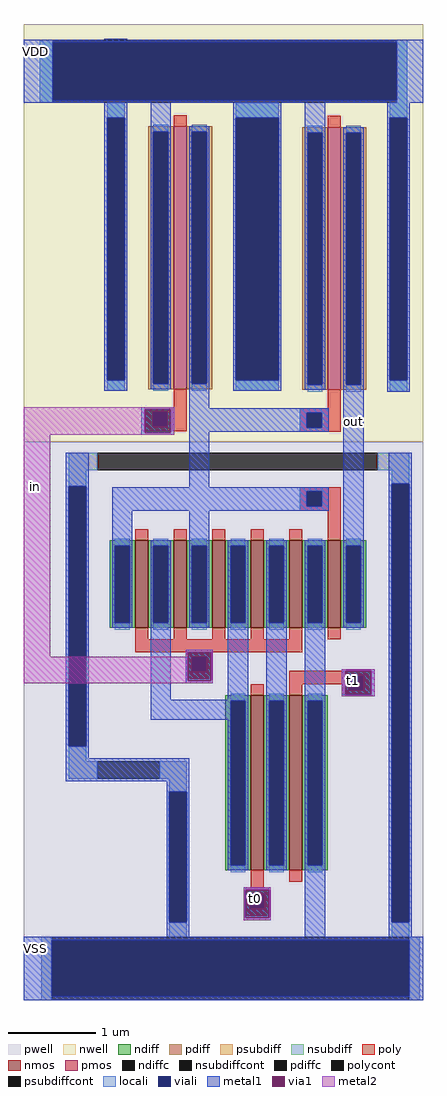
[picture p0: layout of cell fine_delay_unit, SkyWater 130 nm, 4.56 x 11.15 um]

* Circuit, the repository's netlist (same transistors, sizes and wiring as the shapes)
* NGSPICE file created from fine_delay_unit.ext - technology: sky130A

.subckt sky130_fd_pr__nfet_01v8_6H9P4D a_n73_n100# a_15_n100# a_n15_n126# VSUBS
X0 a_15_n100# a_n15_n126# a_n73_n100# VSUBS sky130_fd_pr__nfet_01v8 ad=0.29 pd=2.58 as=0.29 ps=2.58 w=1 l=0.15
**devattr s=11600,516 d=11600,516
.ends

.subckt sky130_fd_pr__pfet_01v8_2K9SAN a_n73_n300# w_n109_n362# a_15_n300# a_n15_n326#
X0 a_15_n300# a_n15_n326# a_n73_n300# w_n109_n362# sky130_fd_pr__pfet_01v8 ad=0.87 pd=6.58 as=0.87 ps=6.58 w=3 l=0.15
**devattr s=34800,1316 d=34800,1316
.ends

.subckt sky130_fd_pr__nfet_01v8_TC9PQS a_15_n200# a_n15_n226# a_n73_n200# VSUBS
X0 a_15_n200# a_n15_n226# a_n73_n200# VSUBS sky130_fd_pr__nfet_01v8 ad=0.58 pd=4.58 as=0.58 ps=4.58 w=2 l=0.15
**devattr s=23200,916 d=23200,916
.ends

.subckt fine_delay_unit in t0 t1 out VDD VSS
Xsky130_fd_pr__nfet_01v8_6H9P4D_0 a_978_702# m1_814_280# in VSS sky130_fd_pr__nfet_01v8_6H9P4D
Xsky130_fd_pr__nfet_01v8_6H9P4D_1 m1_814_280# a_978_702# in VSS sky130_fd_pr__nfet_01v8_6H9P4D
Xsky130_fd_pr__pfet_01v8_2K9SAN_0 VDD VDD a_978_702# in sky130_fd_pr__pfet_01v8_2K9SAN
Xsky130_fd_pr__nfet_01v8_6H9P4D_2 a_978_702# m1_814_280# in VSS sky130_fd_pr__nfet_01v8_6H9P4D
Xsky130_fd_pr__pfet_01v8_2K9SAN_1 VDD VDD out a_978_702# sky130_fd_pr__pfet_01v8_2K9SAN
Xsky130_fd_pr__nfet_01v8_6H9P4D_3 m1_814_280# m1_902_280# in VSS sky130_fd_pr__nfet_01v8_6H9P4D
Xsky130_fd_pr__nfet_01v8_6H9P4D_4 m1_902_280# VSS in VSS sky130_fd_pr__nfet_01v8_6H9P4D
Xsky130_fd_pr__nfet_01v8_6H9P4D_5 VSS out a_978_702# VSS sky130_fd_pr__nfet_01v8_6H9P4D
Xsky130_fd_pr__nfet_01v8_TC9PQS_0 m1_902_280# t0 m1_814_280# VSS sky130_fd_pr__nfet_01v8_TC9PQS
Xsky130_fd_pr__nfet_01v8_TC9PQS_1 VSS t1 m1_902_280# VSS sky130_fd_pr__nfet_01v8_TC9PQS
.ends

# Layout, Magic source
magic
tech sky130A
magscale 1 2
<< nwell >>
rect 348 860 1260 1814
<< pwell >>
rect 348 -416 1260 860
<< psubdiff >>
rect 450 794 516 834
rect 1156 794 1228 834
rect 450 758 490 794
rect 1188 764 1228 794
rect 450 130 490 164
rect 450 90 516 130
rect 658 90 720 130
rect 680 60 720 90
rect 680 -272 720 -238
rect 1188 -272 1228 -238
rect 388 -416 412 -272
rect 1228 -416 1252 -272
<< nsubdiff >>
rect 384 1634 414 1778
rect 1200 1634 1224 1778
rect 538 1600 578 1634
rect 538 976 578 1000
rect 832 1600 930 1634
rect 832 976 930 1000
rect 1184 1600 1224 1634
rect 1184 974 1224 1000
<< psubdiffcont >>
rect 516 794 1156 834
rect 450 164 490 758
rect 516 90 658 130
rect 680 -238 720 60
rect 1188 -238 1228 764
rect 412 -416 1228 -272
<< nsubdiffcont >>
rect 414 1634 1200 1778
rect 538 1000 578 1600
rect 832 1000 930 1600
rect 1184 1000 1224 1600
<< poly >>
rect 690 938 720 954
rect 626 928 720 938
rect 1042 936 1072 952
rect 626 894 642 928
rect 676 894 720 928
rect 626 884 720 894
rect 978 926 1072 936
rect 978 892 994 926
rect 1028 892 1072 926
rect 978 882 1072 892
rect 978 746 1072 756
rect 978 712 994 746
rect 1028 712 1072 746
rect 978 702 1072 712
rect 1042 660 1072 702
rect 602 378 984 408
rect 722 368 776 378
rect 722 334 732 368
rect 766 334 776 368
rect 722 318 776 334
rect 954 326 1140 336
rect 954 306 1090 326
rect 1074 292 1090 306
rect 1124 292 1140 326
rect 1074 282 1140 292
rect 866 -158 896 -146
rect 854 -174 908 -158
rect 854 -208 864 -174
rect 898 -208 908 -174
rect 854 -224 908 -208
<< polycont >>
rect 642 894 676 928
rect 994 892 1028 926
rect 994 712 1028 746
rect 732 334 766 368
rect 1090 292 1124 326
rect 864 -208 898 -174
<< locali >>
rect 384 1634 414 1778
rect 1200 1634 1224 1778
rect 538 1600 578 1634
rect 538 976 578 1000
rect 832 1600 930 1634
rect 832 976 930 1000
rect 1184 1600 1224 1634
rect 1184 974 1224 1000
rect 626 928 692 938
rect 626 894 642 928
rect 676 894 692 928
rect 626 884 692 894
rect 978 926 1044 936
rect 978 892 994 926
rect 1028 892 1044 926
rect 978 882 1044 892
rect 450 794 516 834
rect 1156 794 1228 834
rect 450 758 490 794
rect 1188 764 1228 794
rect 978 746 1044 756
rect 978 712 994 746
rect 1028 712 1044 746
rect 978 702 1044 712
rect 722 368 776 384
rect 722 334 732 368
rect 766 334 776 368
rect 722 318 776 334
rect 1074 326 1140 336
rect 1074 292 1090 326
rect 1124 292 1140 326
rect 1074 282 1140 292
rect 450 130 490 164
rect 450 90 516 130
rect 658 90 720 130
rect 680 60 720 90
rect 854 -174 908 -158
rect 854 -208 864 -174
rect 898 -208 908 -174
rect 854 -224 908 -208
rect 680 -272 720 -238
rect 1188 -272 1228 -238
rect 388 -416 412 -272
rect 1228 -416 1252 -272
<< viali >>
rect 414 1640 1200 1772
rect 538 1000 578 1600
rect 832 1000 930 1600
rect 1184 1000 1224 1600
rect 642 894 676 928
rect 994 892 1028 926
rect 450 164 490 758
rect 994 712 1028 746
rect 732 334 766 368
rect 1090 292 1124 326
rect 680 -238 720 60
rect 864 -208 898 -174
rect 1188 -238 1228 764
rect 412 -408 1228 -280
<< metal1 >>
rect 532 1778 584 1780
rect 348 1772 1260 1778
rect 348 1640 414 1772
rect 1200 1640 1260 1772
rect 348 1634 1260 1640
rect 532 1600 584 1634
rect 532 1000 538 1600
rect 578 1000 584 1600
rect 638 1580 684 1634
rect 826 1600 936 1634
rect 532 976 584 1000
rect 826 1000 832 1600
rect 930 1000 936 1600
rect 990 1578 1036 1634
rect 1178 1600 1230 1634
rect 616 934 692 938
rect 616 880 624 934
rect 684 880 692 934
rect 616 876 692 880
rect 726 936 772 980
rect 826 976 936 1000
rect 1178 1000 1184 1600
rect 1224 1000 1230 1600
rect 726 926 1044 936
rect 726 892 994 926
rect 1028 892 1044 926
rect 726 882 1044 892
rect 444 758 496 834
rect 444 164 450 758
rect 490 164 496 758
rect 726 756 772 882
rect 550 746 1044 756
rect 550 712 994 746
rect 1028 712 1044 746
rect 550 702 1044 712
rect 550 634 596 702
rect 726 634 772 702
rect 1078 634 1124 978
rect 1178 974 1230 1000
rect 1182 764 1234 834
rect 638 270 684 434
rect 718 378 780 384
rect 718 314 722 378
rect 776 314 780 378
rect 718 308 780 314
rect 814 280 860 434
rect 902 280 948 434
rect 990 280 1036 434
rect 1074 336 1150 340
rect 1074 282 1082 336
rect 1142 282 1150 336
rect 1074 278 1150 282
rect 638 224 814 270
rect 444 136 496 164
rect 444 84 726 136
rect 674 60 726 84
rect 674 -238 680 60
rect 720 -238 726 60
rect 850 -164 912 -158
rect 850 -228 854 -164
rect 908 -228 912 -164
rect 850 -234 912 -228
rect 674 -272 726 -238
rect 990 -272 1036 -120
rect 1182 -238 1188 764
rect 1228 -238 1234 764
rect 1182 -272 1234 -238
rect 348 -280 1260 -272
rect 348 -408 412 -280
rect 1228 -408 1260 -280
rect 348 -416 1260 -408
<< via1 >>
rect 624 928 684 934
rect 624 894 642 928
rect 642 894 676 928
rect 676 894 684 928
rect 624 880 684 894
rect 722 368 776 378
rect 722 334 732 368
rect 732 334 766 368
rect 766 334 776 368
rect 722 314 776 334
rect 1082 326 1142 336
rect 1082 292 1090 326
rect 1090 292 1124 326
rect 1124 292 1142 326
rect 1082 282 1142 292
rect 854 -174 908 -164
rect 854 -208 864 -174
rect 864 -208 898 -174
rect 898 -208 908 -174
rect 854 -228 908 -208
<< metal2 >>
rect 348 934 692 938
rect 348 880 624 934
rect 684 880 692 934
rect 348 876 692 880
rect 348 368 408 876
rect 718 378 780 384
rect 718 368 722 378
rect 348 314 722 368
rect 776 314 780 378
rect 348 308 780 314
rect 1074 336 1150 340
rect 1074 282 1082 336
rect 1142 282 1150 336
rect 1074 278 1150 282
rect 850 -164 912 -158
rect 850 -228 854 -164
rect 908 -228 912 -164
rect 850 -234 912 -228
use sky130_fd_pr__nfet_01v8_6H9P4D  sky130_fd_pr__nfet_01v8_6H9P4D_0
transform 1 0 617 0 1 534
box -73 -126 73 126
use sky130_fd_pr__nfet_01v8_6H9P4D  sky130_fd_pr__nfet_01v8_6H9P4D_1
transform 1 0 705 0 1 534
box -73 -126 73 126
use sky130_fd_pr__nfet_01v8_6H9P4D  sky130_fd_pr__nfet_01v8_6H9P4D_2
transform 1 0 793 0 1 534
box -73 -126 73 126
use sky130_fd_pr__nfet_01v8_6H9P4D  sky130_fd_pr__nfet_01v8_6H9P4D_3
transform 1 0 881 0 1 534
box -73 -126 73 126
use sky130_fd_pr__nfet_01v8_6H9P4D  sky130_fd_pr__nfet_01v8_6H9P4D_4
transform 1 0 969 0 1 534
box -73 -126 73 126
use sky130_fd_pr__nfet_01v8_6H9P4D  sky130_fd_pr__nfet_01v8_6H9P4D_5
transform 1 0 1057 0 1 534
box -73 -126 73 126
use sky130_fd_pr__nfet_01v8_TC9PQS  sky130_fd_pr__nfet_01v8_TC9PQS_0
transform 1 0 881 0 1 80
box -73 -226 73 226
use sky130_fd_pr__nfet_01v8_TC9PQS  sky130_fd_pr__nfet_01v8_TC9PQS_1
transform 1 0 969 0 1 80
box -73 -226 73 226
use sky130_fd_pr__pfet_01v8_2K9SAN  sky130_fd_pr__pfet_01v8_2K9SAN_0
transform 1 0 705 0 1 1280
box -109 -362 109 362
use sky130_fd_pr__pfet_01v8_2K9SAN  sky130_fd_pr__pfet_01v8_2K9SAN_1
transform 1 0 1057 0 1 1278
box -109 -362 109 362
<< labels >>
rlabel metal2 348 732 400 784 0 in
port 1 nsew
rlabel metal2 850 -210 902 -158 0 t0
port 2 nsew
rlabel metal2 1074 288 1126 340 0 t1
port 3 nsew
rlabel metal1 348 1726 400 1778 0 VDD
port 5 nsew
rlabel metal1 348 -324 400 -272 0 VSS
port 6 nsew
rlabel metal1 1078 882 1124 928 0 out
port 4 nsew
<< end >>

# cell sky130_fd_pr__nfet_01v8_6H9P4D: kit device sky130_fd_pr__nfet_01v8, w 1 l 0.150 m 1 nf 1 diffcov 100 polycov 100 guard 0 glc 1 grc 1 gtc 1 gbc 1 tbcov 100 rlcov 100 topc 0 botc 0 poverlap 0 doverlap 1 lmin 0.15 wmin 0.42 compatible {sky130_fd_pr__nfet_01v8 sky130_fd_pr__nfet_01v8_lvt sky130_fd_bs_flash__special_sonosfet_star sky130_fd_pr__nfet_g5v0d10v5 sky130_fd_pr__nfet_05v0_nvt sky130_fd_pr__nfet_03v3_nvt} full_metal 1 viasrc 100 viadrn 100 viagate 100 viagb 0 viagr 0 viagl 0 viagt 0

# cell sky130_fd_pr__nfet_01v8_TC9PQS: kit device sky130_fd_pr__nfet_01v8, w 2 l 0.150 m 1 nf 1 diffcov 100 polycov 100 guard 0 glc 1 grc 1 gtc 1 gbc 1 tbcov 100 rlcov 100 topc 0 botc 0 poverlap 0 doverlap 1 lmin 0.15 wmin 0.42 compatible {sky130_fd_pr__nfet_01v8 sky130_fd_pr__nfet_01v8_lvt sky130_fd_bs_flash__special_sonosfet_star sky130_fd_pr__nfet_g5v0d10v5 sky130_fd_pr__nfet_05v0_nvt sky130_fd_pr__nfet_03v3_nvt} full_metal 0 viasrc 100 viadrn 100 viagate 100 viagb 0 viagr 0 viagl 0 viagt 0

# cell sky130_fd_pr__pfet_01v8_2K9SAN: kit device sky130_fd_pr__pfet_01v8, w 3 l 0.15 m 1 nf 1 diffcov 100 polycov 100 guard 0 glc 1 grc 1 gtc 1 gbc 1 tbcov 100 rlcov 100 topc 0 botc 0 poverlap 0 doverlap 1 lmin 0.15 wmin 0.42 compatible {sky130_fd_pr__pfet_01v8 sky130_fd_pr__pfet_01v8_lvt sky130_fd_pr__pfet_01v8_hvt sky130_fd_pr__pfet_g5v0d10v5} full_metal 1 viasrc 100 viadrn 100 viagate 100 viagb 0 viagr 0 viagl 0 viagt 0
